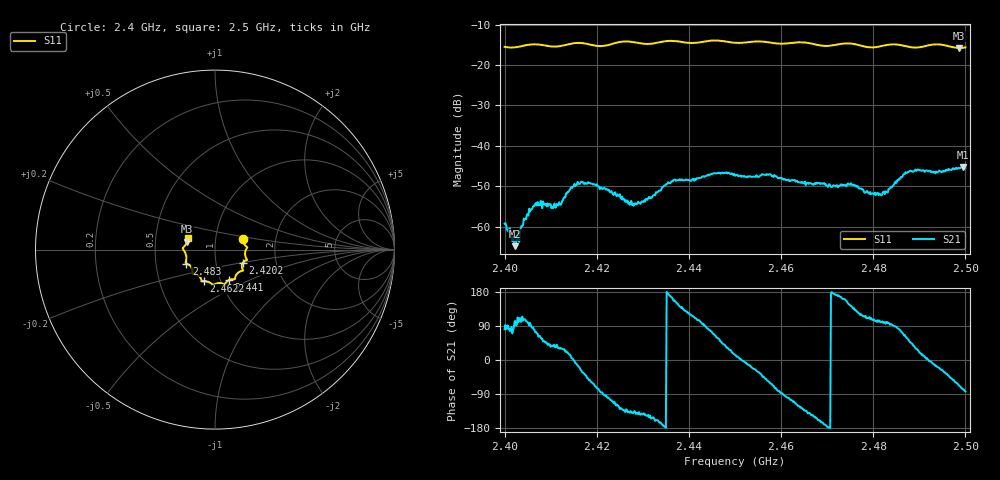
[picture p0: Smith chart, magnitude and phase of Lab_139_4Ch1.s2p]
# Hz S RI R 50
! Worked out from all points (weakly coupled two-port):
!   601 points, 2.4 GHz to 2.5 GHz, reference 50 ohm
!   highest |S21| = -45.19 dB at 2.4995 GHz (marker M1); lowest = -64.8 dB at 2.4023 GHz (marker M2)
!   lowest |S11| = -15.8 dB at 2.4987 GHz (marker M3), VSWR 1.39, Z = 36.4 + j3.29 ohm
!   |S11| at or under -10 dB: start of sweep to end of sweep
!   S12 and S22 are empty: the file has one direction only
!   S11 on the Smith chart (normalised r, x): 2.4 GHz: 1.36, +0.17; 2.4202 GHz: 1.35, -0.20; 2.441 GHz: 1.09, -0.39; 2.4622 GHz: 0.83, -0.30; 2.483 GHz: 0.72, -0.12; 2.5 GHz: 0.73, +0.09
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2.4e9  0.1563 0.0604  0.000169 0.00108  0 0  0 0
2.402333e9  0.1621 0.0328  -0.000129 0.000563  0 0  0 0
2.4045e9  0.1739 0.0173  -0.000354 0.00122  0 0  0 0
2.406667e9  0.1797 0.0125  0.000565 0.00184  0 0  0 0
2.4115e9  0.1673 -0.0247  0.00158 0.000989  0 0  0 0
2.414667e9  0.1768 -0.0533  0.00303 0.000225  0 0  0 0
2.416667e9  0.1775 -0.0584  0.0032 -0.0017  0 0  0 0
2.420167e9  0.156 -0.0719  0.000819 -0.00311  0 0  0 0
2.428167e9  0.1501 -0.118  -0.00135 -0.00137  0 0  0 0
2.433333e9  0.1128 -0.1523  -0.00257 -0.000939  0 0  0 0
2.436667e9  0.1094 -0.1654  -0.00349 0.00152  0 0  0 0
2.441e9  0.0767 -0.1705  -0.00161 0.00353  0 0  0 0
2.45e9  0.0267 -0.1863  0.00416 0.000999  0 0  0 0
2.462167e9  -0.063 -0.1763  -0.000999 -0.00363  0 0  0 0
2.466667e9  -0.0765 -0.167  -0.00281 -0.00188  0 0  0 0
2.48e9  -0.1362 -0.0932  -0.000674 0.00248  0 0  0 0
2.483e9  -0.1592 -0.0779  -0.000394 0.00268  0 0  0 0
2.483333e9  -0.1606 -0.0773  -0.000358 0.00291  0 0  0 0
2.4875e9  -0.1596 -0.054  0.00272 0.00392  0 0  0 0
2.498667e9  -0.1558 0.044  0.002 -0.00492  0 0  0 0
2.4995e9  -0.1534 0.0558  0.00116 -0.00538  0 0  0 0
2.5e9  -0.1529 0.0627  0.00066 -0.00533  0 0  0 0
